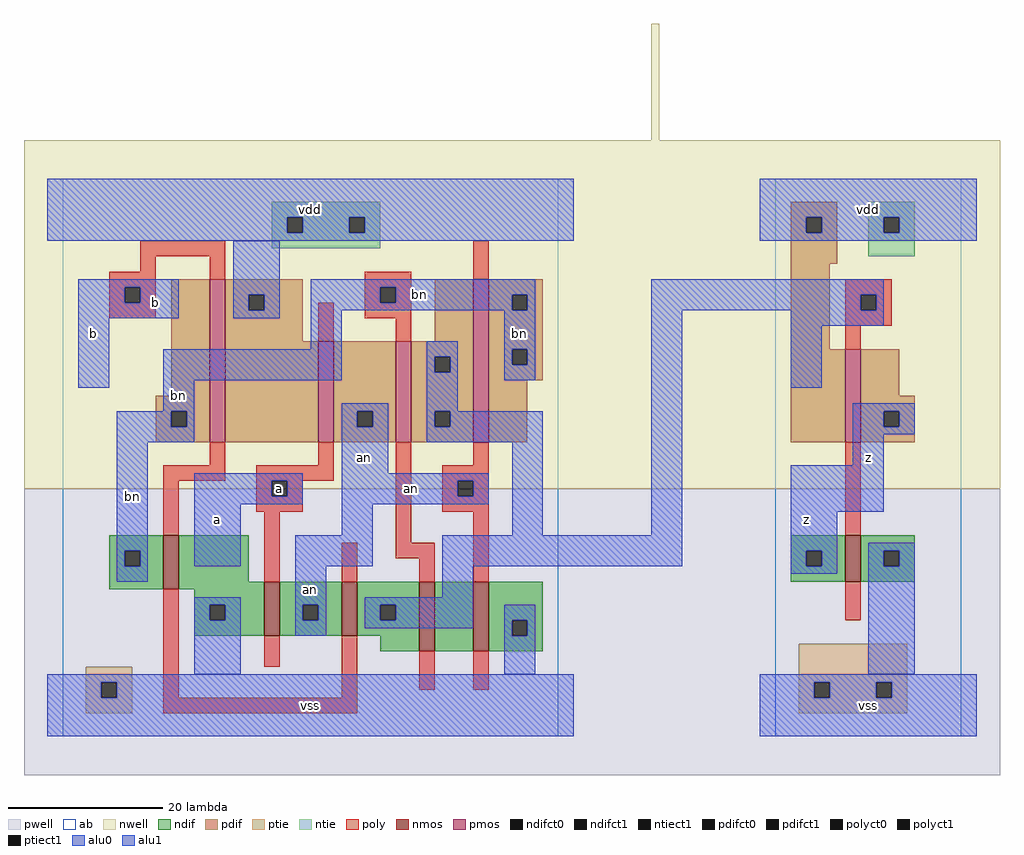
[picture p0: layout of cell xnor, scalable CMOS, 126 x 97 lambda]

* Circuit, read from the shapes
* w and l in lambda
.subckt xnor a an b bn vdd vss z
M1 vss b bn vss nfet w=7 l=2
M2 an a vss vss nfet w=7 l=2
M3 n1 b an vss nfet w=7 l=2
M4 n2 bn n1 vss nfet w=9 l=2
M5 vss an n2 vss nfet w=9 l=2
M6 vss n1 z vss nfet w=6 l=2
M7 vdd b bn vdd pfet w=21 l=2
M8 an a vdd vdd pfet w=13 l=2
M9 n1 bn an vdd pfet w=13 l=2
M10 bn an n1 vdd pfet w=21 l=2
M11 z n1 vdd vdd pfet w=12 l=2
.ends

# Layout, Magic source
magic
tech scmos
<< ab >>
rect -87 5 -23 77
rect 5 5 29 77
<< nwell >>
rect -11 82 -10 97
rect -92 37 34 82
<< pwell >>
rect -92 0 34 37
<< poly >>
rect -77 67 -66 69
rect -77 65 -75 67
rect -81 63 -75 65
rect -68 64 -66 67
rect -81 61 -79 63
rect -77 61 -75 63
rect -81 59 -75 61
rect -48 63 -42 65
rect -34 64 -32 69
rect -48 61 -46 63
rect -44 61 -42 63
rect -54 56 -52 61
rect -48 59 -42 61
rect -44 56 -42 59
rect 14 62 20 64
rect 14 60 16 62
rect 18 60 20 62
rect 14 58 20 60
rect 14 55 16 58
rect -68 40 -66 43
rect -54 40 -52 43
rect -74 38 -66 40
rect -62 38 -52 40
rect -74 31 -72 38
rect -62 36 -60 38
rect -58 36 -56 38
rect -62 34 -56 36
rect -61 25 -59 34
rect -44 30 -42 43
rect -34 40 -32 43
rect -38 38 -32 40
rect -38 36 -36 38
rect -34 36 -32 38
rect -38 34 -32 36
rect -51 25 -49 30
rect -44 28 -39 30
rect -41 25 -39 28
rect -34 25 -32 34
rect 14 31 16 43
rect -74 10 -72 24
rect -61 14 -59 18
rect -51 10 -49 18
rect 14 20 16 25
rect -41 11 -39 16
rect -34 11 -32 16
rect -74 8 -49 10
<< ndif >>
rect -81 29 -74 31
rect -81 27 -79 29
rect -77 27 -74 29
rect -81 24 -74 27
rect -72 25 -63 31
rect 7 29 14 31
rect 7 27 9 29
rect 11 27 14 29
rect 7 25 14 27
rect 16 29 23 31
rect 16 27 19 29
rect 21 27 23 29
rect 16 25 23 27
rect -72 24 -61 25
rect -70 22 -61 24
rect -70 20 -68 22
rect -66 20 -61 22
rect -70 18 -61 20
rect -59 22 -51 25
rect -59 20 -56 22
rect -54 20 -51 22
rect -59 18 -51 20
rect -49 22 -41 25
rect -49 20 -46 22
rect -44 20 -41 22
rect -49 18 -41 20
rect -46 16 -41 18
rect -39 16 -34 25
rect -32 20 -25 25
rect -32 18 -29 20
rect -27 18 -25 20
rect -32 16 -25 18
<< pdif >>
rect 7 72 13 74
rect 7 70 9 72
rect 11 70 13 72
rect -73 49 -68 64
rect -75 47 -68 49
rect -75 45 -73 47
rect -71 45 -68 47
rect -75 43 -68 45
rect -66 62 -56 64
rect -66 60 -63 62
rect -61 60 -56 62
rect 7 66 13 70
rect -66 56 -56 60
rect -39 56 -34 64
rect -66 43 -54 56
rect -52 47 -44 56
rect -52 45 -49 47
rect -47 45 -44 47
rect -52 43 -44 45
rect -42 54 -34 56
rect -42 52 -39 54
rect -37 52 -34 54
rect -42 47 -34 52
rect -42 45 -39 47
rect -37 45 -34 47
rect -42 43 -34 45
rect -32 62 -25 64
rect -32 60 -29 62
rect -27 60 -25 62
rect -32 55 -25 60
rect -32 53 -29 55
rect -27 53 -25 55
rect -32 51 -25 53
rect 7 55 12 66
rect -32 43 -27 51
rect 7 43 14 55
rect 16 49 21 55
rect 16 47 23 49
rect 16 45 19 47
rect 21 45 23 47
rect 16 43 23 45
<< alu1 >>
rect -89 72 -21 77
rect -89 70 -58 72
rect -56 70 -50 72
rect -48 70 -21 72
rect -89 69 -21 70
rect 3 72 31 77
rect 3 70 9 72
rect 11 70 19 72
rect 21 70 31 72
rect 3 69 31 70
rect -85 63 -72 64
rect -85 61 -79 63
rect -77 61 -72 63
rect -85 59 -72 61
rect -85 50 -81 59
rect -40 54 -36 56
rect -40 52 -39 54
rect -37 52 -36 54
rect -40 47 -36 52
rect -11 62 19 64
rect -11 60 16 62
rect 18 60 19 62
rect -40 45 -39 47
rect -37 45 -25 47
rect -40 43 -25 45
rect -70 38 -56 39
rect -70 36 -60 38
rect -58 36 -56 38
rect -70 35 -56 36
rect -70 27 -64 35
rect -29 31 -25 43
rect -11 31 -7 60
rect 7 58 19 60
rect 7 50 11 58
rect 15 47 23 48
rect 15 45 19 47
rect 21 45 23 47
rect 15 44 23 45
rect 15 40 19 44
rect -38 27 -7 31
rect 7 34 19 40
rect 7 29 13 34
rect 7 27 9 29
rect 11 27 13 29
rect -38 23 -34 27
rect 7 26 13 27
rect -48 22 -34 23
rect -48 20 -46 22
rect -44 20 -34 22
rect -48 19 -34 20
rect -89 12 -21 13
rect -89 10 -82 12
rect -80 10 -21 12
rect -89 5 -21 10
rect 3 12 31 13
rect 3 10 10 12
rect 12 10 18 12
rect 20 10 31 12
rect 3 5 31 10
<< ptie >>
rect -84 12 -78 14
rect -84 10 -82 12
rect -80 10 -78 12
rect -84 8 -78 10
rect 8 12 22 17
rect 8 10 10 12
rect 12 10 18 12
rect 20 10 22 12
rect 8 8 22 10
<< ntie >>
rect -60 72 -46 74
rect -60 70 -58 72
rect -56 70 -50 72
rect -48 70 -46 72
rect -60 68 -46 70
rect 17 72 23 74
rect 17 70 19 72
rect 21 70 23 72
rect 17 67 23 70
<< nmos >>
rect -74 24 -72 31
rect 14 25 16 31
rect -61 18 -59 25
rect -51 18 -49 25
rect -41 16 -39 25
rect -34 16 -32 25
<< pmos >>
rect -68 43 -66 64
rect -54 43 -52 56
rect -44 43 -42 56
rect -34 43 -32 64
rect 14 43 16 55
<< polyct0 >>
rect -46 61 -44 63
rect -36 36 -34 38
<< polyct1 >>
rect -79 61 -77 63
rect 16 60 18 62
rect -60 36 -58 38
<< ndifct0 >>
rect -79 27 -77 29
rect 19 27 21 29
rect -68 20 -66 22
rect -56 20 -54 22
rect -29 18 -27 20
<< ndifct1 >>
rect 9 27 11 29
rect -46 20 -44 22
<< ntiect1 >>
rect -58 70 -56 72
rect -50 70 -48 72
rect 19 70 21 72
<< ptiect1 >>
rect -82 10 -80 12
rect 10 10 12 12
rect 18 10 20 12
<< pdifct0 >>
rect -73 45 -71 47
rect -63 60 -61 62
rect -49 45 -47 47
rect -29 60 -27 62
rect -29 53 -27 55
<< pdifct1 >>
rect 9 70 11 72
rect -39 52 -37 54
rect -39 45 -37 47
rect 19 45 21 47
<< alu0 >>
rect -65 62 -59 69
rect -65 60 -63 62
rect -61 60 -59 62
rect -65 59 -59 60
rect -55 63 -26 64
rect -55 61 -46 63
rect -44 62 -26 63
rect -44 61 -29 62
rect -55 60 -29 61
rect -27 60 -26 62
rect -55 55 -51 60
rect -74 51 -51 55
rect -74 47 -70 51
rect -80 45 -73 47
rect -71 45 -70 47
rect -80 43 -70 45
rect -51 47 -45 48
rect -51 45 -49 47
rect -47 45 -45 47
rect -80 29 -76 43
rect -51 39 -45 45
rect -30 55 -26 60
rect -30 53 -29 55
rect -27 53 -26 55
rect -30 51 -26 53
rect -80 27 -79 29
rect -77 27 -76 29
rect -51 38 -32 39
rect -51 36 -36 38
rect -34 36 -32 38
rect -51 35 -32 36
rect -51 31 -47 35
rect -57 27 -47 31
rect -80 25 -76 27
rect -70 22 -64 23
rect -70 20 -68 22
rect -66 20 -64 22
rect -70 13 -64 20
rect -57 22 -53 27
rect 17 29 23 30
rect 17 27 19 29
rect 21 27 23 29
rect -57 20 -56 22
rect -54 20 -53 22
rect -57 18 -53 20
rect -30 20 -26 22
rect -30 18 -29 20
rect -27 18 -26 20
rect -30 13 -26 18
rect 17 13 23 27
<< labels >>
rlabel alu1 9 33 9 33 6 z
rlabel alu1 17 9 17 9 6 vss
rlabel alu1 17 41 17 41 6 z
rlabel alu1 17 73 17 73 6 vdd
rlabel alu0 -72 49 -72 49 6 bn
rlabel alu0 -78 36 -78 36 6 bn
rlabel alu0 -55 24 -55 24 6 an
rlabel alu0 -48 41 -48 41 6 an
rlabel alu0 -42 37 -42 37 6 an
rlabel alu0 -28 57 -28 57 6 bn
rlabel alu0 -41 62 -41 62 6 bn
rlabel alu1 -83 57 -83 57 6 b
rlabel alu1 -75 61 -75 61 6 b
rlabel alu1 -67 33 -67 33 6 a
rlabel polyct1 -59 37 -59 37 6 a
rlabel alu1 -55 9 -55 9 6 vss
rlabel alu1 -55 73 -55 73 6 vdd
<< end >>
